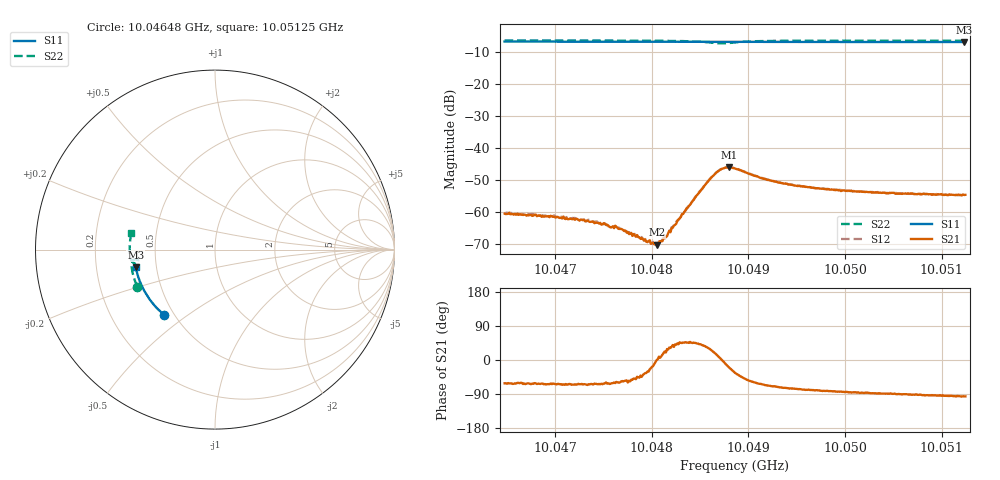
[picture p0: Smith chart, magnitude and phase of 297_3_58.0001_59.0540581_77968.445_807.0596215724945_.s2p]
#  HZ  S  RI  R  50.00
! Rohde & Schwarz Vector Network Analyzer
! Rohde-Schwarz,ZNB20-2Port,1311601062101988,3.16
! Created: UTC 3/21/2024, 1:03:38 AM
! freq[Hz]  re:S11  im:S11  re:S21  im:S21  re:S12  im:S12  re:S22  im:S22
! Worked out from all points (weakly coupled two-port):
!   401 points, 10.04648 GHz to 10.05125 GHz, reference 50 ohm
!   highest |S21| = -46.09 dB at 10.0488 GHz (marker M1); lowest = -70.4 dB at 10.04805 GHz (marker M2)
!   lowest |S11| = -6.9 dB at 10.05124 GHz (marker M3), VSWR 2.65, Z = 19 - j4.73 ohm
!   |S11| at or under -10 dB: nowhere
!   |S22| runs from -7.3 to -6.4 dB; largest |S21 - S12| = 0.00032
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1.0046478e10  -0.2848 -0.3627  0.000443 -0.000817  0.000515 -0.000793  -0.4331 -0.2063
1.0046966e10  -0.3088 -0.3409  0.000374 -0.000755  0.000414 -0.00074  -0.4454 -0.1757
1.0047276e10  -0.3233 -0.3265  0.000336 -0.000662  0.000371 -0.000642  -0.452 -0.1555
1.0047515e10  -0.3338 -0.3149  0.000302 -0.000568  0.000342 -0.000564  -0.4567 -0.1395
1.004767e10  -0.3406 -0.3072  0.000274 -0.000459  0.000306 -0.000455  -0.4592 -0.1288
1.0048004e10  -0.3543 -0.2899  0.000303 -9.97e-05  0.000307 -7.28e-05  -0.4633 -0.1039
1.0048052e10  -0.3563 -0.2874  0.000302 6.05e-07  0.000323 -1.58e-05  -0.4636 -0.1003
1.0048075e10  -0.3572 -0.2861  0.000321 5.09e-05  0.000343 3.53e-05  -0.4638 -0.0983
1.0048111e10  -0.3586 -0.2843  0.000335 8.29e-05  0.000362 0.000106  -0.4638 -0.0955
1.0048171e10  -0.361 -0.2813  0.000406 0.000214  0.000395 0.000237  -0.4639 -0.0904
1.0048469e10  -0.3722 -0.265  0.00132 0.00124  0.00122 0.00133  -0.4567 -0.0625
1.0048612e10  -0.3772 -0.257  0.00298 0.00151  0.00292 0.00169  -0.4412 -0.0533
1.0048719e10  -0.3808 -0.2511  0.00461 0.000161  0.00462 0.000426  -0.4283 -0.0617
1.0048803e10  -0.3836 -0.2466  0.00466 -0.00171  0.00474 -0.00145  -0.4314 -0.0745
1.0048862e10  -0.3858 -0.2435  0.00394 -0.00264  0.00412 -0.00243  -0.4394 -0.0784
1.004922e10  -0.3974 -0.223  0.00116 -0.00287  0.00133 -0.00283  -0.4685 -0.0535
1.0049494e10  -0.4056 -0.2069  0.000614 -0.00246  0.000768 -0.00245  -0.4735 -0.031
1.0049661e10  -0.4103 -0.1968  0.000436 -0.00234  0.000562 -0.00229  -0.4749 -0.0184
1.0049947e10  -0.4176 -0.1797  0.000236 -0.00214  0.000363 -0.00217  -0.4756 0.00249
1.005046e10  -0.429 -0.1479  4.24e-05 -0.00196  0.000161 -0.00194  -0.4742 0.0378
1.0051235e10  -0.4417 -0.0987  -0.000194 -0.00181  -9.09e-05 -0.0018  -0.467 0.0891
1.0051247e10  -0.4419 -0.098  -0.000195 -0.00182  -7.88e-05 -0.00179  -0.4667 0.0898
